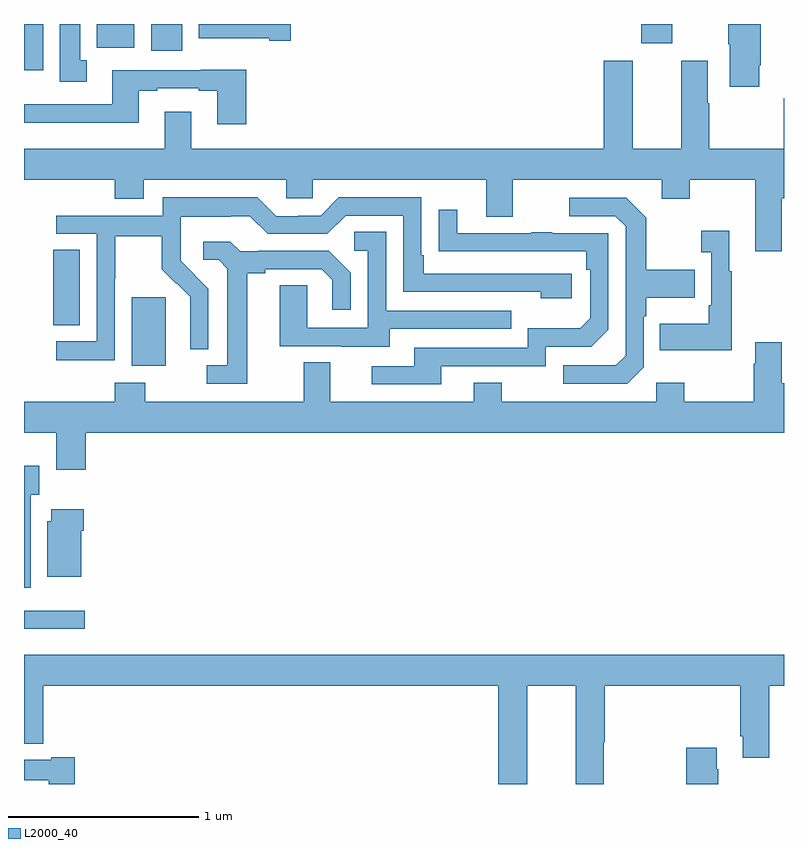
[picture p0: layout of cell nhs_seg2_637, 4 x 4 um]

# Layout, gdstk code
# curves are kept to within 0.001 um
import gdstk
lib = gdstk.Library(unit=1e-6, precision=1e-09)
def R(c, l, rs):  # rectangles x0, y0, x1, y1
    for r in rs: c.add(gdstk.rectangle(r[:2], r[2:], *l))
def P(c, l, *ps):  # polygons
    for p in ps: c.add(gdstk.Polygon(p, *l))
L2000_40 = (2000, 40)

nhs_seg2_637 = lib.new_cell('nhs_seg2_637')
R(nhs_seg2_637, L2000_40, [(143,634.616,143.32,634.713), (143.567,636.002,143.746,636.363), (143.155,636.214,143.293,636.611), (143,637.556,143.101,637.8), (143.669,637.659,143.833,637.8), (143.384,637.676,143.581,637.8), (146.249,637.698,146.413,637.8)])
P(nhs_seg2_637, L2000_40, [(143.329,637.61),(143.296,637.61),(143.296,637.8),(143.189,637.8),(143.189,637.497),(143.329,637.497)],
  [(144.403,637.8),(143.921,637.8),(143.921,637.724),(144.29,637.724),(144.29,637.712),(144.403,637.712)],
  [(146.869,637.582),(146.877,637.582),(146.877,637.8),(146.707,637.8),(146.707,637.693),(146.714,637.693),(146.714,637.47),(146.869,637.47)],
  [(143,636.98),(143.477,636.98),(143.477,636.881),(143.629,636.881),(143.629,636.98),(144.381,636.98),(144.381,636.882),(144.519,636.882),(144.519,636.98),(145.433,636.98),(145.433,636.786),(145.573,636.786),(145.573,636.98),(146.357,636.98),(146.357,636.881),(146.505,636.881),(146.505,636.98),(146.849,636.98),(146.849,636.603),(146.989,636.603),(146.989,636.884),(147,636.884),(147,637.409),(146.998,637.409),(146.998,637.144),(146.607,637.144),(146.607,637.382),(146.599,637.382),(146.599,637.606),(146.459,637.606),(146.459,637.144),(146.203,637.144),(146.203,637.606),(146.051,637.606),(146.051,637.144),(143.881,637.144),(143.881,637.339),(143.741,637.339),(143.741,637.144),(143,637.144)],
  [(144.17,637.558),(143.929,637.558),(143.929,637.557),(143.465,637.557),(143.465,637.377),(143,637.377),(143,637.28),(143.605,637.28),(143.605,637.449),(143.701,637.449),(143.701,637.461),(143.921,637.461),(143.921,637.449),(144.017,637.449),(144.017,637.272),(144.17,637.272)],
  [(143.478,636.46),(143.481,636.46),(143.481,636.684),(143.725,636.684),(143.725,636.509),(143.802,636.432),(143.805,636.435),(143.876,636.365),(143.876,636.242),(143.874,636.242),(143.874,636.088),(143.97,636.088),(143.97,636.406),(143.824,636.554),(143.824,636.651),(143.826,636.651),(143.826,636.785),(144.089,636.785),(144.089,636.789),(144.189,636.789),(144.282,636.696),(144.597,636.696),(144.693,636.792),(144.996,636.792),(144.996,636.39),(145.721,636.39),(145.721,636.356),(145.882,636.356),(145.882,636.486),(145.105,636.486),(145.105,636.583),(145.092,636.583),(145.092,636.888),(144.657,636.888),(144.561,636.792),(144.443,636.792),(144.443,636.789),(144.327,636.789),(144.227,636.889),(143.73,636.889),(143.73,636.792),(143.169,636.792),(143.169,636.696),(143.382,636.696),(143.382,636.129),(143.169,636.129),(143.169,636.031),(143.478,636.031)],
  [(146.262,635.994),(146.262,636.263),(146.275,636.263),(146.275,636.359),(146.531,636.359),(146.531,636.507),(146.275,636.507),(146.275,636.779),(146.169,636.885),(145.869,636.885),(145.869,636.789),(146.112,636.789),(146.166,636.735),(146.166,636.054),(146.115,636.003),(145.839,636.003),(145.839,635.907),(146.175,635.907)],
  [(145.195,636),(145.746,636),(145.746,636.102),(145.986,636.102),(146.076,636.192),(146.076,636.699),(145.781,636.699),(145.781,636.704),(145.669,636.704),(145.669,636.699),(145.279,636.699),(145.279,636.823),(145.183,636.823),(145.183,636.604),(145.96,636.603),(145.96,636.506),(145.98,636.506),(145.98,636.252),(145.927,636.199),(145.65,636.199),(145.65,636.096),(145.055,636.096),(145.055,636),(144.831,636),(144.831,635.904),(145.195,635.904)],
  [(146.725,636.499),(146.713,636.499),(146.713,636.712),(146.565,636.712),(146.565,636.599),(146.616,636.599),(146.616,636.319),(146.604,636.319),(146.604,636.223),(146.347,636.223),(146.347,636.083),(146.725,636.083)],
  [(144.925,636.195),(145.565,636.195),(145.565,636.291),(144.906,636.291),(144.906,636.707),(144.738,636.707),(144.738,636.606),(144.81,636.606),(144.81,636.201),(144.492,636.201),(144.492,636.425),(144.347,636.425),(144.347,636.105),(144.671,636.105),(144.671,636.101),(144.925,636.101)],
  [(144.175,636.488),(144.271,636.488),(144.271,636.51),(144.566,636.51),(144.623,636.453),(144.623,636.297),(144.72,636.297),(144.72,636.49),(144.604,636.606),(144.232,636.606),(144.232,636.603),(144.138,636.603),(144.086,636.655),(143.943,636.655),(143.943,636.558),(144.024,636.558),(144.071,636.511),(144.071,636.003),(143.961,636.003),(143.961,635.907),(144.175,635.907)],
  [(143.324,635.648),(147,635.648),(147,635.908),(146.989,635.908),(146.989,636.124),(146.849,636.124),(146.849,636.011),(146.842,636.011),(146.842,635.812),(146.475,635.812),(146.475,635.911),(146.328,635.911),(146.328,635.812),(145.515,635.812),(145.515,635.911),(145.367,635.911),(145.367,635.812),(144.613,635.812),(144.613,636.02),(144.473,636.02),(144.473,635.812),(143.637,635.812),(143.637,635.911),(143.477,635.911),(143.477,635.812),(143,635.812),(143,635.648),(143.171,635.648),(143.171,635.454),(143.324,635.454)],
  [(143.035,635.322),(143.08,635.322),(143.08,635.476),(143,635.476),(143,634.833),(143.035,634.833)],
  [(143.302,635.132),(143.315,635.132),(143.315,635.245),(143.144,635.245),(143.144,635.184),(143.123,635.184),(143.123,634.892),(143.302,634.892)],
  [(145.648,634.316),(145.904,634.316),(145.904,633.8),(146.052,633.8),(146.052,634.02),(146.057,634.02),(146.057,634.316),(146.771,634.316),(146.771,634.051),(146.783,634.051),(146.783,633.939),(146.923,633.939),(146.923,634.316),(147,634.316),(147,634.48),(143,634.48),(143,634.012),(143.102,634.012),(143.102,634.316),(145.496,634.316),(145.496,633.8),(145.648,633.8)],
  [(146.655,633.878),(146.647,633.878),(146.647,633.991),(146.485,633.991),(146.485,633.8),(146.655,633.8)],
  [(143.267,633.94),(143.144,633.94),(143.144,633.927),(143,633.927),(143,633.819),(143.131,633.819),(143.131,633.8),(143.267,633.8)])

lib.write_gds('nhs_seg2_637.gds')
